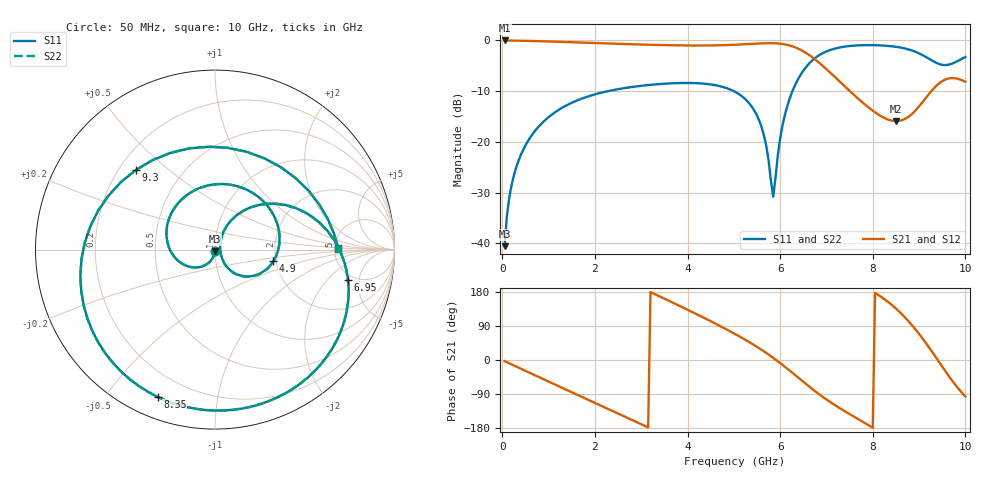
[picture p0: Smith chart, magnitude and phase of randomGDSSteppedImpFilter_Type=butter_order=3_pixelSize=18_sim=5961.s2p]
! freq	dB(S11)	phase(S11)	dB(S12)	phase(S12)
!  dB(S21)	phase(S21)	dB(S22)	phase(S22)
!S-par simulation data
#  GHz  S  DB  R 50
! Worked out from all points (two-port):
!   200 points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, 50 MHz to 10 GHz, reference 50 ohm
!   highest |S21| = -0.01 dB at 50 MHz (marker M1); lowest = -15.9 dB at 8.5 GHz (marker M2)
!   |S21| within 3 dB of the highest: start of sweep to 6.646 GHz
!   lowest |S11| = -40.6 dB at 50 MHz (marker M3), VSWR 1.02, Z = 50 - j0.934 ohm
!   |S11| at or under -10 dB: start of sweep to 2.286 GHz; 4.997 GHz to 6.266 GHz (1.269 GHz wide, 22.5 % of centre)
!   |S22| runs from -40.6 to -0.9 dB; largest |S21 - S12| = 0
!   S11 on the Smith chart (normalised r, x): 50 MHz: 1.00, -0.02; 4.9 GHz: 1.93, -0.28; 6.95 GHz: 4.44, -3.53; 8.35 GHz: 0.09, -0.68; 9.3 GHz: 0.27, +0.39; 10 GHz: 5.37, +0.18
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0.05  -40.57 -92.4  -0.01 -3.0  -0.01 -3.0  -40.58 -92.5
0.2  -28.55 -101.6  -0.04 -11.5  -0.04 -11.5  -28.55 -101.6
0.5  -20.71 -119.0  -0.08 -28.6  -0.08 -28.6  -20.71 -119.1
1.15  -14.10 -156.0  -0.25 -65.4  -0.25 -65.4  -14.10 -156.2
1.75  -11.37 170.3  -0.45 -99.1  -0.45 -99.1  -11.37 170.0
2.65  -9.39 119.9  -0.73 -149.5  -0.73 -149.5  -9.39 119.5
3.4  -8.61 77.4  -0.91 167.7  -0.91 167.7  -8.61 76.9
4.2  -8.43 31.0  -1.01 120.7  -1.01 120.7  -8.43 30.4
4.9  -9.60 -11.3  -0.91 77.1  -0.91 77.1  -9.60 -11.9
5.05  -10.26 -20.7  -0.85 67.1  -0.85 67.1  -10.26 -21.3
5.6  -17.13 -53.8  -0.58 26.9  -0.58 26.9  -17.14 -54.5
5.85  -30.81 5.6  -0.56 5.8  -0.56 5.8  -31.04 5.2
6.15  -13.06 58.2  -0.87 -22.5  -0.87 -22.5  -13.07 58.0
6.7  -3.90 9.1  -3.37 -77.3  -3.37 -77.3  -3.90 8.8
6.95  -2.38 -12.8  -5.26 -100.0  -5.26 -100.0  -2.38 -13.0
7.7  -0.97 -67.2  -11.61 -157.0  -11.61 -157.0  -0.97 -67.4
8.35  -1.10 -111.3  -15.67 151.3  -15.67 151.3  -1.11 -111.6
8.5  -1.26 -123.1  -15.91 135.8  -15.91 135.8  -1.27 -123.4
8.95  -2.35 -169.2  -13.54 76.5  -13.54 76.5  -2.35 -169.6
9.3  -4.08 134.9  -9.64 18.4  -9.64 18.4  -4.08 134.5
9.6  -4.84 71.9  -7.61 -35.3  -7.61 -35.3  -4.84 71.5
10  -3.27 0.7  -8.15 -96.1  -8.15 -96.1  -3.26 0.5
